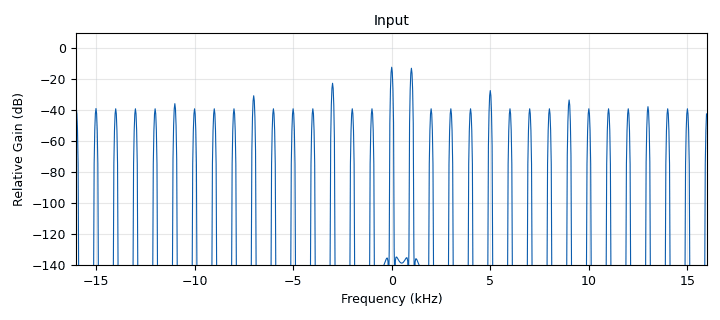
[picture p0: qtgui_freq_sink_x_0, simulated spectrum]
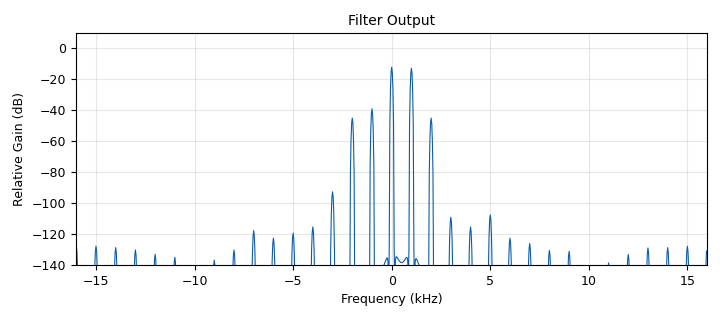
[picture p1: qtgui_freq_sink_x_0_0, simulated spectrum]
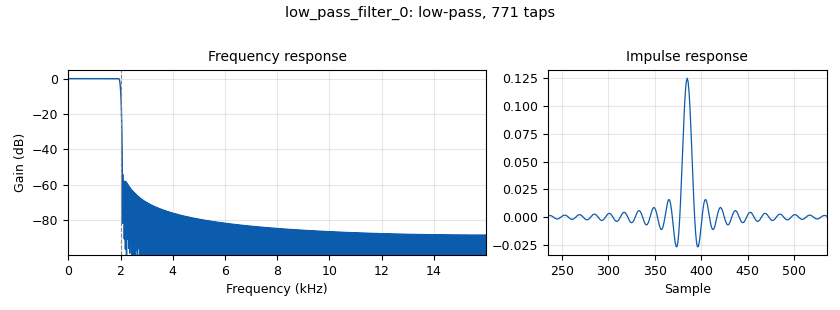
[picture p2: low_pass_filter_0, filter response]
options:
  parameters:
    author: pi
    generate_options: qt_gui
    id: complex_filter_CH8
    output_language: python
    title: Not titled yet
  states: {}

blocks:
- name: samp_rate
  id: variable
  parameters:
    value: '32000'
  states: {}
- name: analog_sig_source_x_0
  id: analog_sig_source_x
  parameters:
    amp: '1'
    freq: '1000'
    offset: '0'
    phase: '0'
    samp_rate: samp_rate
    type: complex
    waveform: analog.GR_SQR_WAVE
  states: {}
- name: blocks_throttle_0
  id: blocks_throttle
  parameters:
    samples_per_second: samp_rate
    type: complex
  states: {}
- name: low_pass_filter_0
  id: low_pass_filter
  parameters:
    cutoff_freq: 2e3
    decim: '1'
    gain: '1'
    samp_rate: samp_rate
    type: fir_filter_ccf
    width: '100'
    win: firdes.WIN_HAMMING
  states: {}
- name: qtgui_freq_sink_x_0
  id: qtgui_freq_sink_x
  parameters:
    bw: samp_rate
    fc: '0'
    fftsize: '1024'
    name: Input
    type: complex
    wintype: firdes.WIN_BLACKMAN_hARRIS
  states: {}
- name: qtgui_freq_sink_x_0_0
  id: qtgui_freq_sink_x
  parameters:
    bw: samp_rate
    fc: '0'
    fftsize: '1024'
    name: Filter Output
    type: complex
    wintype: firdes.WIN_BLACKMAN_hARRIS
  states: {}

connections:
- [analog_sig_source_x_0, '0', blocks_throttle_0, '0']
- [blocks_throttle_0, '0', low_pass_filter_0, '0']
- [blocks_throttle_0, '0', qtgui_freq_sink_x_0, '0']
- [low_pass_filter_0, '0', qtgui_freq_sink_x_0_0, '0']

metadata:
  file_format: 1
